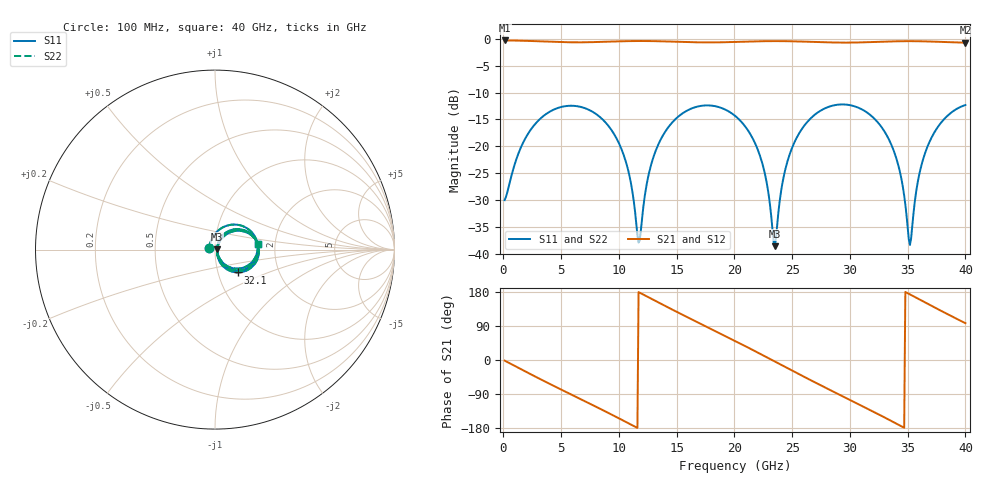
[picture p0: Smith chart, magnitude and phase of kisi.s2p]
! thru_BV_ts_refinout2_in2gnd_in: 2×thru F.Cu, 8 mm
! stackup: as the board case
! ports: 1 near, 2 far
! kisi-fdtd, conformal, dfine 0.035 mm, 453600 cells
# Hz S RI R 50
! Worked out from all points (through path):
!   400 points, 100 MHz to 40 GHz, reference 50 ohm
!   highest |S21| = -0.31 dB at 100 MHz (marker M1); lowest = -0.7 dB at 40 GHz (marker M2)
!   group delay of S21, straight-line fit = 43.2 ps
!   lowest |S11| = -38.6 dB at 23.5 GHz (marker M3), VSWR 1.02, Z = 51.2 + j0.0826 ohm
!   |S11| at or under -10 dB: start of sweep to end of sweep
!   |S22| runs from -38.6 to -12.2 dB; largest |S21 - S12| = 0
!   S11 on the Smith chart (normalised r, x): 100 MHz: 0.94, +0.01; 32.1 GHz: 1.25, -0.33; 40 GHz: 1.63, +0.12
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1e8  -0.0308 0.00713  0.9641 -0.027  0.9641 -0.027  -0.0308 0.00713
2.7e9  0.0809 0.137  0.6965 -0.6467  0.6965 -0.6467  0.0809 0.137
6.8e9  0.2283 -0.0352  -0.2403 -0.8954  -0.2403 -0.8954  0.2283 -0.0352
1.02e10  0.0516 -0.0803  -0.873 -0.3692  -0.873 -0.3692  0.0516 -0.0803
1.11e10  0.0202 -0.0366  -0.9411 -0.1439  -0.9411 -0.1439  0.0202 -0.0366
1.17e10  0.0127 -0.00144  -0.9531 0.014  -0.9531 0.014  0.0127 -0.00144
1.25e10  0.021 0.0457  -0.9259 0.2236  -0.9259 0.2236  0.021 0.0457
1.34e10  0.0531 0.0889  -0.839 0.4433  -0.839 0.4433  0.0531 0.0889
1.68e10  0.2294 0.0475  -0.1556 0.9137  -0.1556 0.9137  0.2294 0.0475
2.01e10  0.1521 -0.1143  0.6048 0.712  0.6048 0.712  0.1521 -0.1143
2.23e10  0.0321 -0.0693  0.9152 0.2483  0.9152 0.2483  0.0321 -0.0693
2.35e10  0.0118 0.000807  0.949 -0.0661  0.949 -0.0661  0.0118 0.000807
2.46e10  0.0347 0.0643  0.8826 -0.3493  0.8826 -0.3493  0.0347 0.0643
2.67e10  0.1522 0.1072  0.5396 -0.7641  0.5396 -0.7641  0.1522 0.1072
2.94e10  0.2445 -0.0202  -0.0976 -0.916  -0.0976 -0.916  0.2445 -0.0202
3.21e10  0.1298 -0.1271  -0.687 -0.632  -0.687 -0.632  0.1298 -0.1271
3.34e10  0.054 -0.101  -0.8743 -0.3549  -0.8743 -0.3549  0.054 -0.101
3.45e10  0.0163 -0.0444  -0.9463 -0.073  -0.9463 -0.073  0.0163 -0.0444
3.52e10  0.0121 -0.000796  -0.9432 0.1147  -0.9432 0.1147  0.0121 -0.000796
3.59e10  0.0245 0.0414  -0.9009 0.2977  -0.9009 0.2977  0.0245 0.0414
3.67e10  0.0568 0.0803  -0.8079 0.4894  -0.8079 0.4894  0.0568 0.0803
4e10  0.2397 0.034  -0.1147 0.9122  -0.1147 0.9122  0.2397 0.034
